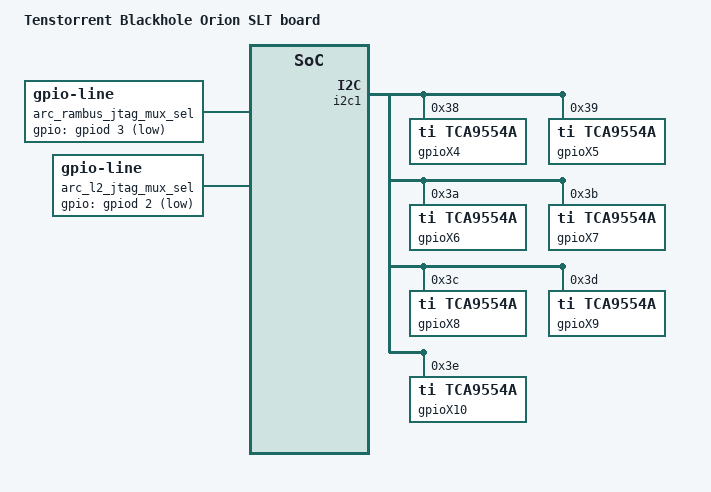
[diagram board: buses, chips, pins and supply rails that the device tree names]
/*
 * Copyright (c) 2026 Tenstorrent AI ULC
 *
 * SPDX-License-Identifier: Apache-2.0
 */

/ {
	model = "Tenstorrent Blackhole Orion SLT board";
	compatible = "tenstorrent,orion-slt";
};

/* Orion SLT does not use strapping - remove strapping to avoid undefined label */
&chip0 {
	/delete-node/ strapping;

	arc_rambus_jtag_mux_sel: arc_rambus_jtag_mux_enable {
		compatible = "zephyr,gpio-line";
		gpios = <&gpiod 3 GPIO_ACTIVE_LOW>;
	};

	arc_l2_jtag_mux_sel: arc_l2_jtag_mux_enable {
		compatible = "zephyr,gpio-line";
		gpios = <&gpiod 2 GPIO_ACTIVE_LOW>;
	};
};

/* Override JTAG pins for Orion SLT hardware */
&jtag0 {
	tck-gpios = <&gpioa 8 GPIO_ACTIVE_HIGH>;
	tdi-gpios = <&gpiof 0 GPIO_ACTIVE_HIGH>;
	tdo-gpios = <&gpiob 14 GPIO_PULL_UP>;
	tms-gpios = <&gpiob 15 GPIO_ACTIVE_HIGH>;
	trst-gpios = <&gpiof 1 GPIO_ACTIVE_LOW>;
};

/* Disable base I2C1 devices Orion SLT doesn't have */
&ina228 {
	status = "disabled";
};

&max6639 {
	status = "disabled";
};

/* Replace gpiox with TCA9546A mux + TCA9554A (same addresses) */
&i2c1 {
	/* Must remove base nodes before adding different devices at same I2C addresses */
	/delete-node/ gpio@20;
	/delete-node/ gpio@21;
	/delete-node/ gpio@38;
	/delete-node/ gpio@39;
	/delete-node/ gpio@3a;
	/delete-node/ gpio@3b;
	/delete-node/ gpio@3c;
	/delete-node/ gpio@3e;

	mux: tca9546a@70 {
		compatible = "ti,tca9546a";
		reg = <0x70>;
		#address-cells = <1>;
		#size-cells = <0>;
		status = "disabled";

		ch0: mux_i2c@0 {
			compatible = "ti,tca9546a-channel";
			reg = <0>;
			#address-cells = <1>;
			#size-cells = <0>;

			gpioX1: tca9554a@21 {
				compatible = "ti,tca9554a";
				reg = <0x21>;
				#address-cells = <1>;
				#size-cells = <0>;
				gpio-controller;
				status = "okay";
			};
		};

		ch1: mux_i2c@1 {
			compatible = "ti,tca9546a-channel";
			reg = <1>;
			#address-cells = <1>;
			#size-cells = <0>;

			gpioX2: tca9554a@22 {
				compatible = "ti,tca9554a";
				reg = <0x22>;
				#address-cells = <1>;
				#size-cells = <0>;
				gpio-controller;
				status = "okay";
			};
		};

		ch2: mux_i2c@2 {
			compatible = "ti,tca9546a-channel";
			reg = <2>;
			#address-cells = <1>;
			#size-cells = <0>;

			gpioX3: tca9554a@20 {
				compatible = "ti,tca9554a";
				reg = <0x20>;
				#address-cells = <1>;
				#size-cells = <0>;
				gpio-controller;
				status = "okay";
			};
		};
	};

	gpioX4: tca9554a@38 {
		compatible = "ti,tca9554a";
		reg = <0x38>;
		#address-cells = <1>;
		#size-cells = <0>;
		gpio-controller;
		status = "okay";
	};

	gpioX5: tca9554a@39 {
		compatible = "ti,tca9554a";
		reg = <0x39>;
		#address-cells = <1>;
		#size-cells = <0>;
		gpio-controller;
		status = "okay";
	};

	gpioX6: tca9554a@3a {
		compatible = "ti,tca9554a";
		reg = <0x3a>;
		#address-cells = <1>;
		#size-cells = <0>;
		gpio-controller;
		status = "okay";
	};

	gpioX7: tca9554a@3b {
		compatible = "ti,tca9554a";
		reg = <0x3b>;
		#address-cells = <1>;
		#size-cells = <0>;
		gpio-controller;
		status = "okay";
	};

	gpioX8: tca9554a@3c {
		compatible = "ti,tca9554a";
		reg = <0x3c>;
		#address-cells = <1>;
		#size-cells = <0>;
		gpio-controller;
		status = "okay";
	};

	gpioX9: tca9554a@3d {
		compatible = "ti,tca9554a";
		reg = <0x3d>;
		#address-cells = <1>;
		#size-cells = <0>;
		gpio-controller;
		status = "okay";
	};

	gpioX10: tca9554a@3e {
		compatible = "ti,tca9554a";
		reg = <0x3e>;
		#address-cells = <1>;
		#size-cells = <0>;
		gpio-controller;
		status = "okay";
	};
};
